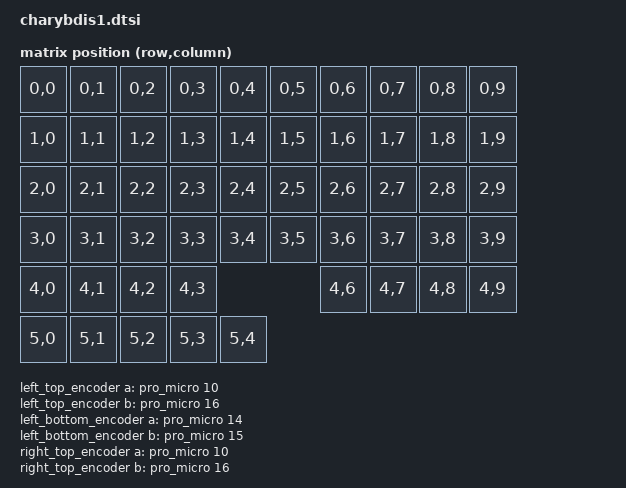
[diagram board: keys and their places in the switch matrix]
#include <dt-bindings/zmk/matrix_transform.h>

/ {
    chosen {
        zmk,kscan = &kscan0;
        zmk,matrix_transform = &default_transform;
    };

    default_transform: keymap_transform_0 {
        compatible = "zmk,matrix-transform";
        columns = <11>;
        rows = <6>;

        map = <    
//                         LEFT                                               RIGHT
// ┌──PINKY──┬──RING────┬─MIDDLE─┬──INDEX──┬──INNER──┐  ┌──INNER──┬──INDEX──┬─MIDDLE─┬─RING────┬──PINKY──┐
     RC(0,0)   RC(0,1)   RC(0,2)   RC(0,3)   RC(0,4)     RC(0,5)   RC(0,6)   RC(0,7)   RC(0,8)   RC(0,9)
     RC(1,0)   RC(1,1)   RC(1,2)   RC(1,3)   RC(1,4)     RC(1,5)   RC(1,6)   RC(1,7)   RC(1,8)   RC(1,9)
     RC(2,0)   RC(2,1)   RC(2,2)   RC(2,3)   RC(2,4)     RC(2,5)   RC(2,6)   RC(2,7)   RC(2,8)   RC(2,9)
     RC(3,0)   RC(3,1)   RC(3,2)   RC(3,3)   RC(3,4)     RC(3,5)   RC(3,6)   RC(3,7)   RC(3,8)   RC(3,9)
// └─────────┴──────────┴────────┴─────────┴─────────┘  └─────────┴─────────┴────────┴─────────┴─────────┘
//                        THUMB                                               THUMB
// ┌───TOP───┬──MIDDLE──┬─BOTTOM─┬─ENCODER─┐                      ┌─ENCODER─┬─BOTTOM─┬─MIDDLE──┬────TOP──┐
     RC(4,0)   RC(4,1)    RC(4,2)  RC(4,3)                         RC(4,6)   RC(4,7)   RC(4,8)   RC(4,9)
// └─────────┴──────────┴────────┴─────────┘                      └─────────┴────────┴─────────┴─────────┘

// 5 WAY SWITCH *this is treated as a new row with 5 columns (each switch direction is a column, the entire switch is the row)
//     UP       DOWN      LEFT      RIGHT     PUSH
// ┌─────────┬─────────┬─────────┬─────────┬─────────┐
     RC(5,0)   RC(5,1)   RC(5,2)   RC(5,3)   RC(5,4)
// └─────────┴─────────┴─────────┴─────────┴─────────┘
        >;
    };

    kscan0: kscan {
        compatible = "zmk,kscan-gpio-matrix";
        label = "KSCAN";

        diode-direction = "col2row";
    };

    left_top_encoder: left_top_encoder {
        compatible = "alps,ec11";
        label = "LEFT_TOP_ENCODER";
        a-gpios = <&pro_micro 10 (GPIO_ACTIVE_HIGH | GPIO_PULL_UP)>;
        b-gpios = <&pro_micro 16 (GPIO_ACTIVE_HIGH | GPIO_PULL_UP)>;
        resolution = <4>;
        status = "disabled";
    };

    left_bottom_encoder: left_bottom_encoder {
        compatible = "alps,ec11";
        label = "LEFT_BOTTOM_ENCODER";
        a-gpios = <&pro_micro 14 (GPIO_ACTIVE_HIGH | GPIO_PULL_UP)>;
        b-gpios = <&pro_micro 15 (GPIO_ACTIVE_HIGH | GPIO_PULL_UP)>;
        resolution = <4>;
        status = "disabled";
    };

    right_top_encoder: right_top_encoder {
        compatible = "alps,ec11";
        label = "RIGHT_TOP_ENCODER";
        a-gpios = <&pro_micro 10 (GPIO_ACTIVE_HIGH | GPIO_PULL_UP)>;
        b-gpios = <&pro_micro 16 (GPIO_ACTIVE_HIGH | GPIO_PULL_UP)>;
        resolution = <4>;
        status = "disabled";
    };

    right_bottom_encoder: right_bottom_encoder {
        compatible = "alps,ec11";
        label = "RIGHT_BOTTOM_ENCODER";
        a-gpios = <&pro_micro 14 (GPIO_ACTIVE_HIGH | GPIO_PULL_UP)>;
        b-gpios = <&pro_micro 15 (GPIO_ACTIVE_HIGH | GPIO_PULL_UP)>;
        resolution = <4>;
        status = "disabled";
    };

    sensors {
        compatible = "zmk,keymap-sensors";
        sensors = <
            &left_top_encoder
            &left_bottom_encoder
            &right_top_encoder
            &right_bottom_encoder
        >;
    };

    trackballs {
		compatible = "zmk,keymap-trackballs";
		trackballs = <&trackball>;
	};

};

&spi0 {
    compatible = "nordic,nrf-spim";
    status = "disabled";

    trackball: trackball@0 {
        compatible = "pixart,pmw3610";
        status = "disabled";
        reg = <0>;
        label = "TRACKBALL";
        spi-max-frequency = <2000000>;
        // duplex = <2048>; // required by 3-wire spi
    };
};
